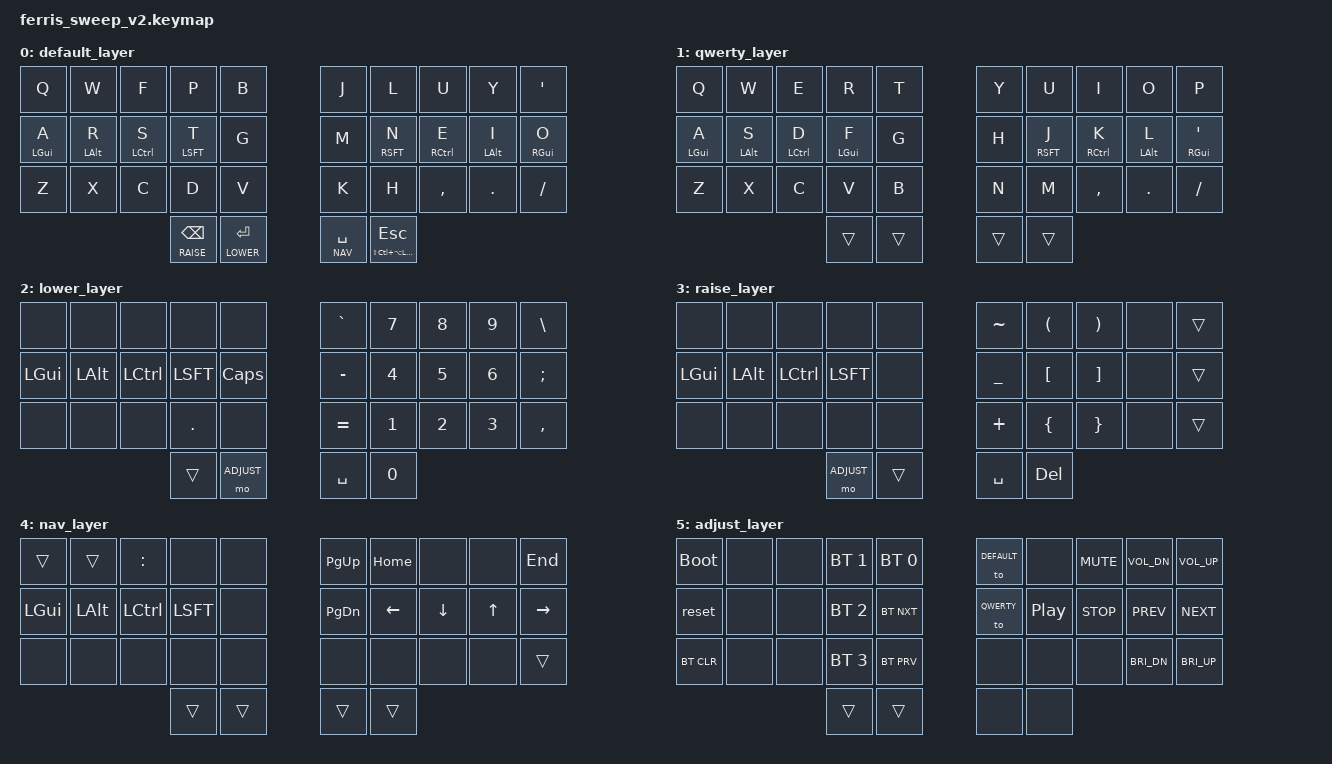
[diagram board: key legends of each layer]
/*
 * Copyright (c) 2021 The ZMK Contributors
 *
 * SPDX-License-Identifier: MIT
 */

#include <behaviors.dtsi>
#include <dt-bindings/zmk/keys.h>
#include <dt-bindings/zmk/bt.h>

#define DEFAULT 0
#define QWERTY 1
#define LOWER 2
#define RAISE 3
#define NAV 4
#define ADJUST 5

/ {
    behaviors {
        hm: homerow_mods {
            compatible = "zmk,behavior-hold-tap";
            label = "HOMEROW_MODS";
            #binding-cells = <2>;
            tapping-term-ms = <125>;
            quick_tap_ms = <0>;
            flavor = "tap-preferred";
            bindings = <&kp>, <&kp>;
        };
    };

    combos {
        compatible = "zmk,combos";
        combo_semicolon {
            timeout-ms = <40>;
            key-positions = <6 7>;
            bindings = <&kp SEMI>;
        };
        combo_tab {
           timeout-ms = <40>;
           key-positions = <26 27>;
           bindings = <&kp TAB>;
       };
       combo_capslock {
           timeout-ms = <40>;
           key-positions = <5 15>;
           bindings = <&kp CAPS>;
       };
    };

    // See "combos.dtsi" for combo definition

    keymap {
        compatible = "zmk,keymap";
// -----------------------------------------------------------------------------------------
// |       |       |       |       |       | ----- |       |       |       |       |       |
// |       |       |       |       |       | ----- |       |       |       |       |       |
// |       |       |       |       |       | ----- |       |       |       |       |       |
//                         |       |       | ----- |       |       |


// -----------------------------------------------------------------------------------------
// |   Q   |   W   |   F   |   P   |   B   | ----- |   J   |   L   |   U   |   Y   |  ' "  |
// |   A   |   R   |   S   |   T   |   G   | ----- |   M   |   N   |   E   |   I   |   O   |
// |   R   |   X   |   C   |   D   |   V   | ----- |   K   |   H   |  , <  |  . >  |  / ?  |
//                         |LOW_TAB|RAI_ENT| ----- |NAV_SPC| HY_ESC|
        default_layer {
            bindings = <
&kp Q       &kp W       &kp F       &kp P       &kp B       &kp J   &kp L       &kp U       &kp Y       &kp APOS
&hm LGUI A  &hm LALT R  &hm LCTL S  &hm LSFT T  &kp G       &kp M   &hm RSFT N  &hm RCTL E  &hm LALT I  &hm RGUI O
&kp Z       &kp X       &kp C       &kp D       &kp V       &kp K   &kp H       &kp COMMA   &kp DOT     &kp FSLH
                 &lt RAISE BSPC &lt LOWER ENTER  &lt NAV SPACE &mt LS(LC(LA(LGUI))) ESC
            >;
        };

// -----------------------------------------------------------------------------------------
// |   Q   |   W   |   E   |   R   |   T   | ----- |   Y   |   U   |   I   |   O   |   P   |
// |   A   |   X   |   D   |   F   |   G   | ----- |   H   |   J   |   K   |   L   |  ' "  |
// |   Z   |   X   |   C   |   V   |   B   | ----- |   N   |   M   |  , <  |  . >  |  / ?  |
//                         |       |       | ----- |       |       |
        qwerty_layer {
            bindings = <
&kp Q       &kp W       &kp E       &kp R       &kp T       &kp Y   &kp U       &kp I       &kp O       &kp P
&hm LGUI A  &hm LALT S  &hm LCTL D  &hm LGUI F  &kp G       &kp H   &hm RSFT J  &hm RCTL K  &hm LALT L  &hm RGUI QUOT
&kp Z       &kp X       &kp C       &kp V       &kp B       &kp N   &kp M       &kp CMMA    &kp DOT     &kp FSLH
                                    &trans      &trans      &trans  &trans
            >;
        };
// -----------------------------------------------------------------------------------------
// |       |       |       |       |       | ----- |  ` ~  |  7 &  |  8 *  |  9 (  |  \ |  |
// | LGUI  | LALT  | LCTL  | LSFT  |       | ----- |  - _  |  4 _  |  5 %  |  6 ^  |  ; :  |
// |       |       |       |       |       | ----- |  = +  |  1 !  |  2 @  |  3 #  |  , <  |
//                         |       |   .   | ----- |       |   .   |
// NOTE: Consider "&tog LOWER" instead of "&kp GRAVE"
        lower_layer {
            bindings = <
&none       &none       &none       &none       &none       &kp GRAVE   &kp N7  &kp N8  &kp N9  &kp BSLH
&kp LGUI    &kp LALT    &kp LCTL    &kp LSFT    &kp CAPS    &kp MINUS   &kp N4  &kp N5  &kp N6  &kp SEMI
&none       &none       &none       &kp DOT       &none       &kp EQUAL   &kp N1  &kp N2  &kp N3  &kp COMMA
                                    &trans      &mo ADJUST  &kp SPACE   &kp N0
            >;
        };
// -----------------------------------------------------------------------------------------
// |       |       |       |       |       | ----- |DEFAULT|   (   |   )   |       |       |
// | LGUI  | LALT  | LCTL  | LSFT  |       | ----- |QWERTY |   [   |   ]   |       |       |
// |       |       |       |       |       | ----- |   +   |   {   |   }   |       |       |
//                         |  TAB  |       | ----- | BSPC  |  DEL  |
        raise_layer {
            bindings = <
&none       &none       &none       &none       &none       &kp TILDE   &kp LPAR  &kp RPAR  &none  &trans
&kp LGUI    &kp LALT    &kp LCTL    &kp LSFT    &none       &kp UNDER   &kp LBKT  &kp RBKT  &none  &trans
&none       &none       &none       &none       &none       &kp PLUS    &kp LBRC  &kp RBRC  &none  &trans
                                    &mo ADJUST  &trans      &kp SPACE   &kp DEL
            >;
        };

// -----------------------------------------------------------------------------------------
// |       |       |   :   |       |       | ----- | PG_UP | HOME  |       |       |  END  |
// | LGUI  | LALT  | LCTL  | LSFT  |       | ----- | PG_DN | LEFT  | DOWN  |  UP   | RIGHT |
// |       |       |       |       |       | ----- |       |       |       |       |       |
//                         |  TAB  |       | ----- |       |       |
        nav_layer {
            bindings = <
&trans      &trans      &kp COLON   &none       &none       &kp PG_UP  &kp HOME  &none    &none  &kp END
&kp LGUI    &kp LALT    &kp LCTL    &kp LSFT    &none       &kp PG_DN  &kp LEFT  &kp DOWN &kp UP &kp RIGHT
&none       &none       &none       &none       &none       &none      &none     &none    &none  &trans
                                    &trans      &trans      &trans     &trans
            >;
        };

// -----------------------------------------------------------------------------------------
// | BOOTL |  F1   |  F2   |  F3   |  F4   | ----- |  |   (   |   )   |       |       |
// | RESET |  F5   |  F6   |  F7   |  F8   | ----- |   _   |   [   |   ]   |       |       |
// |       |  F9   |  F10  |  F11  |  F12  | ----- |   +   |   {   |   }   |       |       |
//                         |  TAB  |       | ----- | BSPC  |  DEL  |
        adjust_layer {
            bindings = <
&bootloader &none  &none  &bt BT_SEL 1  &bt BT_SEL 0     &to DEFAULT &none    &kp C_MUTE   &kp C_VOL_DN &kp C_VOL_UP
&reset      &none  &none  &bt BT_SEL 2  &bt BT_NXT       &to QWERTY  &kp C_PP &kp C_STOP   &kp C_PREV   &kp C_NEXT
&bt BT_CLR  &none  &none  &bt BT_SEL 3  &bt BT_PRV       &none       &none    &none        &kp C_BRI_DN &kp C_BRI_UP
                          &trans        &trans           &none       &none
            >;
        };
    };
};
